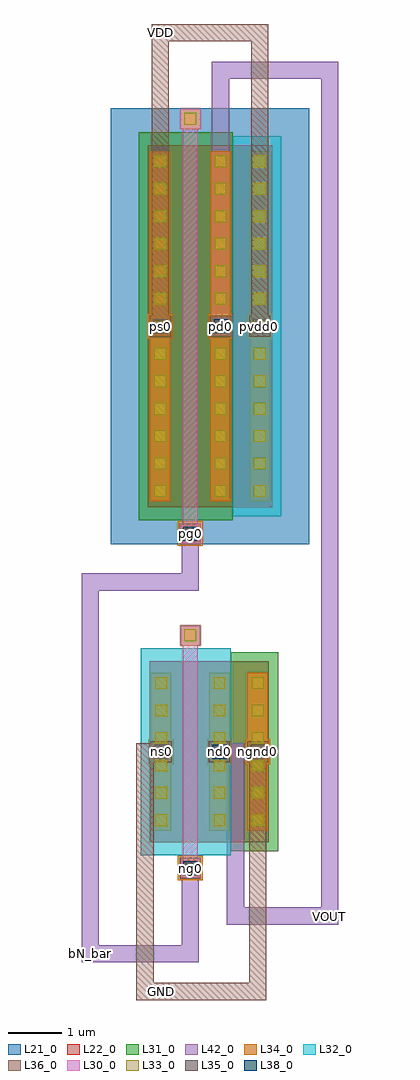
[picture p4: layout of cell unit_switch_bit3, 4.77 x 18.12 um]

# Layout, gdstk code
import gdstk
lib = gdstk.Library(unit=1e-6, precision=1e-09)
def R(c, l, rs):  # rectangles x0, y0, x1, y1
    for r in rs: c.add(gdstk.rectangle(r[:2], r[2:], *l))
def A(c, l, x, y, w, h, nx, ny, dx, dy):  # array of equal rectangles
    R(c, l, [(x+i*dx, y+j*dy, x+i*dx+w, y+j*dy+h) for i in range(nx) for j in range(ny)])
L21_0 = (21, 0)
L22_0 = (22, 0)
L30_0 = (30, 0)
L31_0 = (31, 0)
L32_0 = (32, 0)
L33_0 = (33, 0)
L34_0 = (34, 0)
L35_0 = (35, 0)
L36_0 = (36, 0)
L38_0 = (38, 0)
L42_0 = (42, 0)

unit_switch_bit3 = lib.new_cell('unit_switch_bit3')
R(unit_switch_bit3, L21_0, [(-1.15,-0.69,2.54,7.41)])
R(unit_switch_bit3, L22_0, [(-0.42,-6.22,0,-2.86), (0,-6.22,0.66,-2.86), (0.66,-6.22,1.08,-2.86), (1.08,-6.22,1.79,-2.86), (-0.46,0,0,6.72), (0,0,0.66,6.72), (0.66,0,1.12,6.72), (1.12,0,1.85,6.72)])
R(unit_switch_bit3, L30_0, [(0.15,-6.88,0.51,-6.52), (0.19,-6.52,0.47,-2.56), (0.15,-2.56,0.51,-2.2), (0.14,-0.68,0.52,-0.3), (0.19,-0.3,0.47,7.02), (0.14,7.02,0.52,7.4)])
R(unit_switch_bit3, L31_0, [(1.08,-6.39,1.96,-2.69), (-0.63,-0.24,1.12,6.96)])
R(unit_switch_bit3, L32_0, [(-0.59,-6.46,1.08,-2.62), (1.12,-0.17,2.02,6.89)])
A(unit_switch_bit3, L33_0, -0.32, -5.925, 0.22, 0.22, 1, 6, 0, 0.51)
A(unit_switch_bit3, L33_0, 0.76, -5.925, 0.22, 0.22, 1, 6, 0, 0.51)
A(unit_switch_bit3, L33_0, 1.47, -5.925, 0.22, 0.22, 1, 6, 0, 0.51)
A(unit_switch_bit3, L33_0, -0.34, 0.19, 0.22, 0.22, 1, 13, 0, 0.51)
A(unit_switch_bit3, L33_0, 0.78, 0.19, 0.22, 0.22, 1, 13, 0, 0.51)
A(unit_switch_bit3, L33_0, 1.51, 0.19, 0.22, 0.22, 1, 13, 0, 0.51)
R(unit_switch_bit3, L33_0, [(0.22,-6.81,0.44,-6.59), (0.22,-2.49,0.44,-2.27), (0.22,-0.6,0.44,-0.38), (0.22,7.1,0.44,7.32)])
R(unit_switch_bit3, L34_0, [(0.1,-6.93,0.56,-6.47), (0.14,-6.89,0.52,-6.51), (-0.4,-6.005,-0.02,-3.075), (0.68,-6.005,1.06,-3.075), (1.39,-6.005,1.77,-3.075), (-0.44,-4.77,0.02,-4.31), (0.64,-4.77,1.1,-4.31), (1.35,-4.77,1.81,-4.31), (0.14,-2.57,0.52,-2.19), (0.1,-0.72,0.56,-0.26), (0.14,-0.68,0.52,-0.3), (-0.42,0.11,-0.04,6.61), (0.7,0.11,1.08,6.61), (1.43,0.11,1.81,6.61), (-0.46,3.13,0,3.59), (0.66,3.13,1.12,3.59), (1.39,3.13,1.85,3.59), (0.14,7.02,0.52,7.4)])
R(unit_switch_bit3, L35_0, [(0.2,-6.83,0.46,-6.57), (-0.34,-4.67,-0.08,-4.41), (0.74,-4.67,1,-4.41), (1.45,-4.67,1.71,-4.41), (0.2,-0.62,0.46,-0.36), (-0.36,3.23,-0.1,3.49), (0.76,3.23,1.02,3.49), (1.49,3.23,1.75,3.49)])
R(unit_switch_bit3, L36_0, [(-0.67,-9.15,-0.05,-8.83), (-0.67,-9.15,-0.35,-4.38), (-0.37,-9.15,1.74,-8.83), (1.42,-9.15,1.74,-4.38), (0.135,-6.895,0.525,-6.505), (-0.405,-4.735,-0.015,-4.345), (0.675,-4.735,1.065,-4.345), (1.385,-4.735,1.775,-4.345), (-0.67,-4.7,-0.05,-4.38), (0.135,-0.685,0.525,-0.295), (-0.425,3.165,-0.035,3.555), (0.695,3.165,1.085,3.555), (1.425,3.165,1.815,3.555), (-0.39,3.2,-0.07,8.97), (1.46,3.2,1.78,8.97), (-0.39,8.65,-0.07,8.97), (-0.39,8.65,1.78,8.97)])
R(unit_switch_bit3, L38_0, [(0.2,-6.83,0.46,-6.57), (0.74,-4.67,1,-4.41), (0.2,-0.62,0.46,-0.36), (0.76,3.23,1.02,3.49)])
R(unit_switch_bit3, L42_0, [(-1.69,-8.45,0.49,-8.13), (-1.69,-8.45,-1.37,-1.23), (0.17,-8.45,0.49,-6.54), (1.01,-7.75,1.33,-4.38), (1.01,-7.75,3.08,-7.43), (2.76,-7.75,3.08,8.27), (0.135,-6.895,0.525,-6.505), (0.675,-4.735,1.065,-4.345), (0.71,-4.7,1.33,-4.38), (-1.69,-1.55,0.49,-1.23), (0.17,-1.55,0.49,-0.33), (0.135,-0.685,0.525,-0.295), (0.695,3.165,1.085,3.555), (0.73,3.2,1.05,8.27), (0.73,7.95,3.08,8.27)])
unit_switch_bit3.add(gdstk.Label('ps0', (-0.23,3.36), layer=34, texttype=10))
unit_switch_bit3.add(gdstk.Label('pd0', (0.89,3.36), layer=34, texttype=10))
unit_switch_bit3.add(gdstk.Label('pg0', (0.33,-0.49), layer=34, texttype=10))
unit_switch_bit3.add(gdstk.Label('pvdd0', (1.62,3.36), layer=34, texttype=10))
unit_switch_bit3.add(gdstk.Label('ns0', (-0.21,-4.541), layer=34, texttype=10))
unit_switch_bit3.add(gdstk.Label('nd0', (0.87,-4.541), layer=34, texttype=10))
unit_switch_bit3.add(gdstk.Label('ng0', (0.33,-6.701), layer=34, texttype=10))
unit_switch_bit3.add(gdstk.Label('ngnd0', (1.58,-4.541), layer=34, texttype=10))
unit_switch_bit3.add(gdstk.Label('VDD', (-0.23,8.81), layer=34, texttype=10))
unit_switch_bit3.add(gdstk.Label('GND', (-0.21,-8.992), layer=34, texttype=10))
unit_switch_bit3.add(gdstk.Label('VOUT', (2.92,-7.592), layer=34, texttype=10))
unit_switch_bit3.add(gdstk.Label('bN_bar', (-1.53,-8.292), layer=34, texttype=10))

lib.write_gds('unit_switch_bit3.gds')
